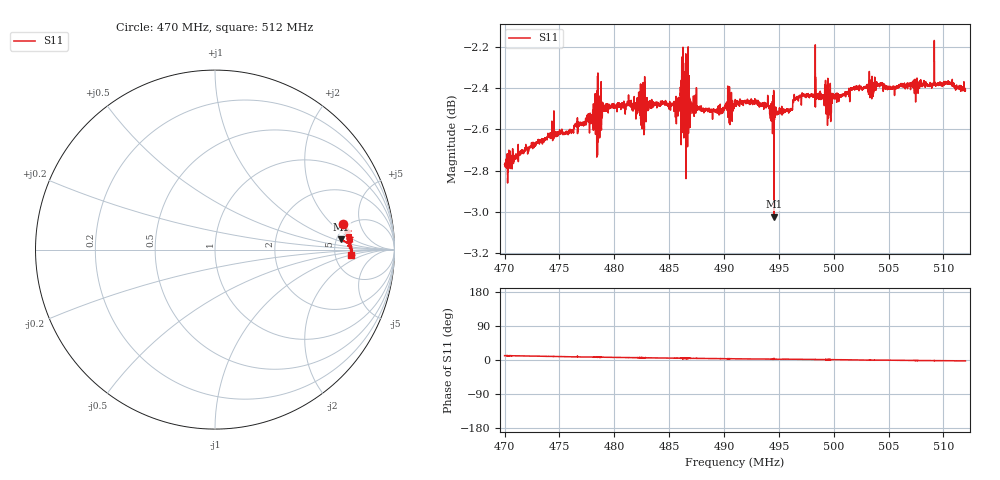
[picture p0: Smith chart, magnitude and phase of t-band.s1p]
! Calibrated averaged scanner-service zoom
# Hz S RI R 50
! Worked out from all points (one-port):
!   4001 points, 470 MHz to 512 MHz, reference 50 ohm
!   lowest |S11| = -3.0 dB at 494.5 MHz (marker M1), VSWR 5.80, Z = 275 + j63.4 ohm
!   |S11| at or under -10 dB: nowhere
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4.7e8  0.7125 0.1445
4.7294e8  0.7246 0.1295
4.7525e8  0.7315 0.116
4.763e8  0.7325 0.1073
4.765205e8  0.7356 0.1063
4.78463e8  0.7248 0.0925
4.805e8  0.7459 0.0873
4.8575e8  0.7453 0.0659
4.862015e8  0.7484 0.0591
4.862855e8  0.7502 0.0629
4.864115e8  0.7524 0.0486
4.865585e8  0.7667 0.039
4.86842e8  0.7521 0.0645
4.871465e8  0.7479 0.0575
4.89257e8  0.7475 0.0482
4.91e8  0.75 0.0417
4.929845e8  0.7522 0.034
4.939295e8  0.7508 0.0331
4.94549e8  0.7036 0.0578
4.9625e8  0.7492 0.0262
4.971215e8  0.7563 0.0234
4.99694e8  0.7578 0.015
5.015e8  0.7567 0.00551
5.03201e8  0.7617 -0.00357
5.051015e8  0.7592 -0.00736
5.0675e8  0.7601 -0.0142
5.10362e8  0.7601 -0.0236
5.12e8  0.7572 -0.0312
